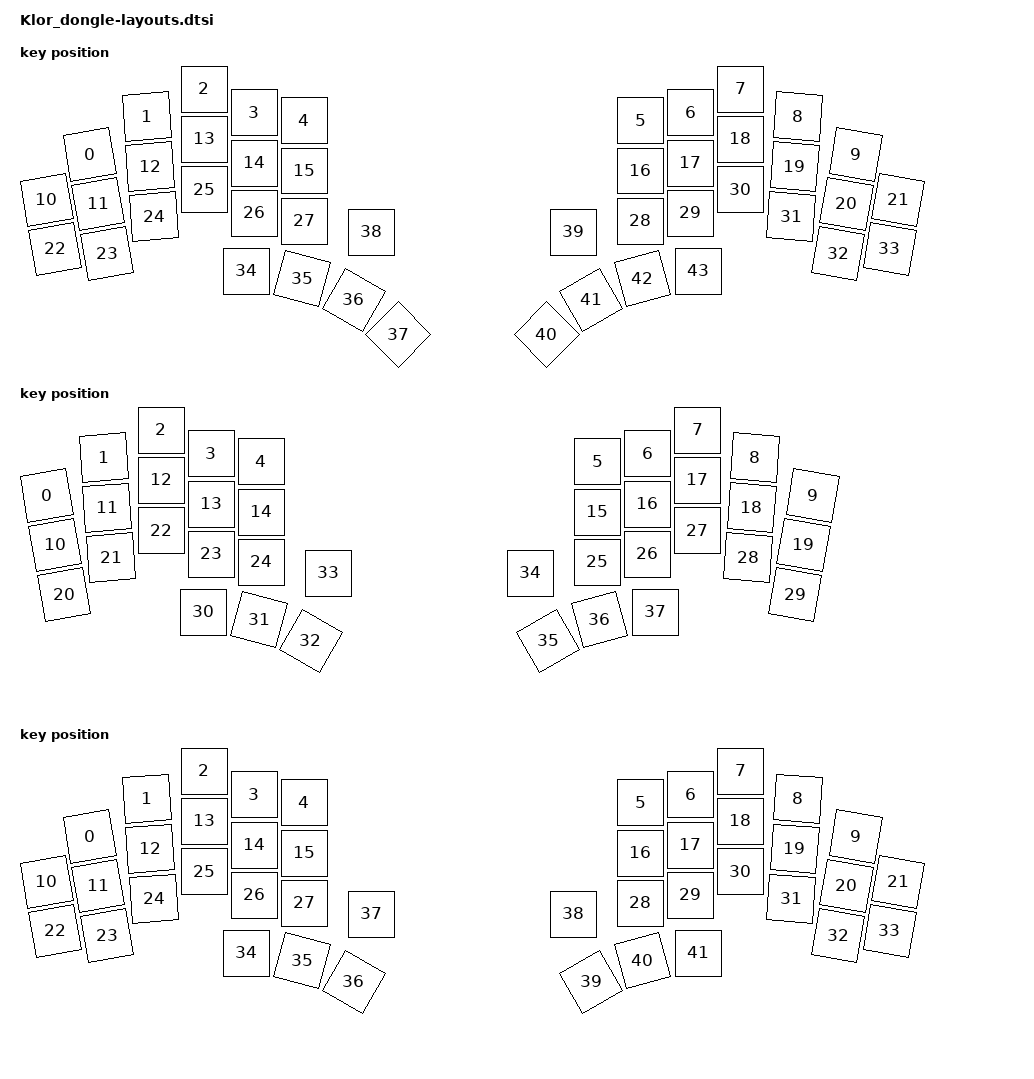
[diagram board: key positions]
#include <physical_layouts.dtsi>

/ {
    layout_0: layout_0 {
        compatible = "zmk,physical-layout";
        display-name = "LAYOU0";
        transform = <&default_transform>;

        keys  //                     w   h    x    y     rot    rx    ry
            = <&key_physical_attrs 100 100   94  131 (-1000)   144   181>
            , <&key_physical_attrs 100 100  209   55  (-400)   259   105>
            , <&key_physical_attrs 100 100  323    0       0     0     0>
            , <&key_physical_attrs 100 100  423   47       0     0     0>
            , <&key_physical_attrs 100 100  523   63       0     0     0>
            , <&key_physical_attrs 100 100 1196   63       0     0     0>
            , <&key_physical_attrs 100 100 1296   47       0     0     0>
            , <&key_physical_attrs 100 100 1396    0       0     0     0>
            , <&key_physical_attrs 100 100 1511   55     400  1561   105>
            , <&key_physical_attrs 100 100 1626  131    1000  1676   181>
            , <&key_physical_attrs 100 100    8  222 (-1000)    58   272>
            , <&key_physical_attrs 100 100  111  230 (-1000)   161   280>
            , <&key_physical_attrs 100 100  215  155  (-400)   266   205>
            , <&key_physical_attrs 100 100  323  100       0     0     0>
            , <&key_physical_attrs 100 100  423  148       0     0     0>
            , <&key_physical_attrs 100 100  523  164       0     0     0>
            , <&key_physical_attrs 100 100 1196  164       0     0     0>
            , <&key_physical_attrs 100 100 1296  148       0     0     0>
            , <&key_physical_attrs 100 100 1396  100       0     0     0>
            , <&key_physical_attrs 100 100 1504  155     400  1554   205>
            , <&key_physical_attrs 100 100 1608  230    1000  1658   280>
            , <&key_physical_attrs 100 100 1711  222    1000  1761   272>
            , <&key_physical_attrs 100 100   25  320 (-1000)    75   370>
            , <&key_physical_attrs 100 100  129  329 (-1000)   179   379>
            , <&key_physical_attrs 100 100  223  255  (-400)   273   305>
            , <&key_physical_attrs 100 100  323  201       0     0     0>
            , <&key_physical_attrs 100 100  423  248       0     0     0>
            , <&key_physical_attrs 100 100  523  264       0     0     0>
            , <&key_physical_attrs 100 100 1196  264       0     0     0>
            , <&key_physical_attrs 100 100 1296  248       0     0     0>
            , <&key_physical_attrs 100 100 1396  201       0     0     0>
            , <&key_physical_attrs 100 100 1497  255     400  1547   305>
            , <&key_physical_attrs 100 100 1591  329    1000  1641   379>
            , <&key_physical_attrs 100 100 1694  320    1000  1744   370>
            , <&key_physical_attrs 100 100  408  364       0     0     0>
            , <&key_physical_attrs 100 100  519  379    1500   569   429>
            , <&key_physical_attrs 100 100  622  422    3000   672   472>
            , <&key_physical_attrs 100 100  711  491 (-4500)   761   541>
            , <&key_physical_attrs 100 100  657  286       0     0     0>
            , <&key_physical_attrs 100 100 1062  286       0     0     0>
            , <&key_physical_attrs 100 100 1008  491    4500  1058   541>
            , <&key_physical_attrs 100 100 1097  422 (-3000)  1147   472>
            , <&key_physical_attrs 100 100 1200  379 (-1500)  1250   429>
            , <&key_physical_attrs 100 100 1311  364       0     0     0>
            ;
    };

    layout_1: layout_1 {
        compatible = "zmk,physical-layout";
        display-name = "LAYOU1";
        transform = <&default_transform>;
        
        keys  //                     w   h    x    y     rot    rx    ry
            = <&key_physical_attrs 100 100   94  131 (-1000)   144   181>
            , <&key_physical_attrs 100 100  209   55  (-400)   259   105>
            , <&key_physical_attrs 100 100  323    0       0     0     0>
            , <&key_physical_attrs 100 100  423   47       0     0     0>
            , <&key_physical_attrs 100 100  523   63       0     0     0>
            , <&key_physical_attrs 100 100 1196   63       0     0     0>
            , <&key_physical_attrs 100 100 1296   47       0     0     0>
            , <&key_physical_attrs 100 100 1396    0       0     0     0>
            , <&key_physical_attrs 100 100 1511   55     400  1561   105>
            , <&key_physical_attrs 100 100 1626  131    1000  1676   181>
//            , <&key_physical_attrs 100 100    8  222 (-1000)    58   272>
            , <&key_physical_attrs 100 100  111  230 (-1000)   161   280>
            , <&key_physical_attrs 100 100  215  155  (-400)   266   205>
            , <&key_physical_attrs 100 100  323  100       0     0     0>
            , <&key_physical_attrs 100 100  423  148       0     0     0>
            , <&key_physical_attrs 100 100  523  164       0     0     0>
            , <&key_physical_attrs 100 100 1196  164       0     0     0>
            , <&key_physical_attrs 100 100 1296  148       0     0     0>
            , <&key_physical_attrs 100 100 1396  100       0     0     0>
            , <&key_physical_attrs 100 100 1504  155     400  1554   205>
            , <&key_physical_attrs 100 100 1608  230    1000  1658   280>
//          , <&key_physical_attrs 100 100 1711  222    1000  1761   272>
//          , <&key_physical_attrs 100 100   25  320 (-1000)    75   370>
            , <&key_physical_attrs 100 100  129  329 (-1000)   179   379>
            , <&key_physical_attrs 100 100  223  255  (-400)   273   305>
            , <&key_physical_attrs 100 100  323  201       0     0     0>
            , <&key_physical_attrs 100 100  423  248       0     0     0>
            , <&key_physical_attrs 100 100  523  264       0     0     0>
            , <&key_physical_attrs 100 100 1196  264       0     0     0>
            , <&key_physical_attrs 100 100 1296  248       0     0     0>
            , <&key_physical_attrs 100 100 1396  201       0     0     0>
            , <&key_physical_attrs 100 100 1497  255     400  1547   305>
            , <&key_physical_attrs 100 100 1591  329    1000  1641   379>
//          , <&key_physical_attrs 100 100 1694  320    1000  1744   370>
            , <&key_physical_attrs 100 100  408  364       0     0     0>
            , <&key_physical_attrs 100 100  519  379    1500   569   429>
            , <&key_physical_attrs 100 100  622  422    3000   672   472>
//            , <&key_physical_attrs 100 100  711  491 (-4500)   761   541>
            , <&key_physical_attrs 100 100  657  286       0     0     0>
            , <&key_physical_attrs 100 100 1062  286       0     0     0>
//          , <&key_physical_attrs 100 100 1008  491    4500  1058   541>
            , <&key_physical_attrs 100 100 1097  422 (-3000)  1147   472>
            , <&key_physical_attrs 100 100 1200  379 (-1500)  1250   429>
            , <&key_physical_attrs 100 100 1311  364       0     0     0>
            ;
    };

    layout_2: layout_2 {
        compatible = "zmk,physical-layout";
        display-name = "LAYOU2";
        transform = <&default_transform>;
        
        keys  //                     w   h    x    y     rot    rx    ry
            = <&key_physical_attrs 100 100   94  131 (-1000)   144   181>
            , <&key_physical_attrs 100 100  209   55  (-400)   259   105>
            , <&key_physical_attrs 100 100  323    0       0     0     0>
            , <&key_physical_attrs 100 100  423   47       0     0     0>
            , <&key_physical_attrs 100 100  523   63       0     0     0>
            , <&key_physical_attrs 100 100 1196   63       0     0     0>
            , <&key_physical_attrs 100 100 1296   47       0     0     0>
            , <&key_physical_attrs 100 100 1396    0       0     0     0>
            , <&key_physical_attrs 100 100 1511   55     400  1561   105>
            , <&key_physical_attrs 100 100 1626  131    1000  1676   181>
            , <&key_physical_attrs 100 100    8  222 (-1000)    58   272>
            , <&key_physical_attrs 100 100  111  230 (-1000)   161   280>
            , <&key_physical_attrs 100 100  215  155  (-400)   266   205>
            , <&key_physical_attrs 100 100  323  100       0     0     0>
            , <&key_physical_attrs 100 100  423  148       0     0     0>
            , <&key_physical_attrs 100 100  523  164       0     0     0>
            , <&key_physical_attrs 100 100 1196  164       0     0     0>
            , <&key_physical_attrs 100 100 1296  148       0     0     0>
            , <&key_physical_attrs 100 100 1396  100       0     0     0>
            , <&key_physical_attrs 100 100 1504  155     400  1554   205>
            , <&key_physical_attrs 100 100 1608  230    1000  1658   280>
            , <&key_physical_attrs 100 100 1711  222    1000  1761   272>
            , <&key_physical_attrs 100 100   25  320 (-1000)    75   370>
            , <&key_physical_attrs 100 100  129  329 (-1000)   179   379>
            , <&key_physical_attrs 100 100  223  255  (-400)   273   305>
            , <&key_physical_attrs 100 100  323  201       0     0     0>
            , <&key_physical_attrs 100 100  423  248       0     0     0>
            , <&key_physical_attrs 100 100  523  264       0     0     0>
            , <&key_physical_attrs 100 100 1196  264       0     0     0>
            , <&key_physical_attrs 100 100 1296  248       0     0     0>
            , <&key_physical_attrs 100 100 1396  201       0     0     0>
            , <&key_physical_attrs 100 100 1497  255     400  1547   305>
            , <&key_physical_attrs 100 100 1591  329    1000  1641   379>
            , <&key_physical_attrs 100 100 1694  320    1000  1744   370>
            , <&key_physical_attrs 100 100  408  364       0     0     0>
            , <&key_physical_attrs 100 100  519  379    1500   569   429>
            , <&key_physical_attrs 100 100  622  422    3000   672   472>
//            , <&key_physical_attrs 100 100  711  491 (-4500)   761   541>
            , <&key_physical_attrs 100 100  657  286       0     0     0>
            , <&key_physical_attrs 100 100 1062  286       0     0     0>
//          , <&key_physical_attrs 100 100 1008  491    4500  1058   541>
            , <&key_physical_attrs 100 100 1097  422 (-3000)  1147   472>
            , <&key_physical_attrs 100 100 1200  379 (-1500)  1250   429>
            , <&key_physical_attrs 100 100 1311  364       0     0     0>
            ;
    };
    layout_3: layout_3 {
        compatible = "zmk,physical-layout";
        display-name = "LAYOU3";
        transform = <&default_transform>;
        
        keys  //                     w   h    x    y     rot    rx    ry
            = <&key_physical_attrs 100 100   94  131 (-1000)   144   181>
            , <&key_physical_attrs 100 100  209   55  (-400)   259   105>
            , <&key_physical_attrs 100 100  323    0       0     0     0>
            , <&key_physical_attrs 100 100  423   47       0     0     0>
            , <&key_physical_attrs 100 100  523   63       0     0     0>
            , <&key_physical_attrs 100 100 1196   63       0     0     0>
            , <&key_physical_attrs 100 100 1296   47       0     0     0>
            , <&key_physical_attrs 100 100 1396    0       0     0     0>
            , <&key_physical_attrs 100 100 1511   55     400  1561   105>
            , <&key_physical_attrs 100 100 1626  131    1000  1676   181>
//          , <&key_physical_attrs 100 100    8  222 (-1000)    58   272>
            , <&key_physical_attrs 100 100  111  230 (-1000)   161   280>
            , <&key_physical_attrs 100 100  215  155  (-400)   266   205>
            , <&key_physical_attrs 100 100  323  100       0     0     0>
            , <&key_physical_attrs 100 100  423  148       0     0     0>
            , <&key_physical_attrs 100 100  523  164       0     0     0>
            , <&key_physical_attrs 100 100 1196  164       0     0     0>
            , <&key_physical_attrs 100 100 1296  148       0     0     0>
            , <&key_physical_attrs 100 100 1396  100       0     0     0>
            , <&key_physical_attrs 100 100 1504  155     400  1554   205>
            , <&key_physical_attrs 100 100 1608  230    1000  1658   280>
//          , <&key_physical_attrs 100 100 1711  222    1000  1761   272>
//          , <&key_physical_attrs 100 100   25  320 (-1000)    75   370>
            , <&key_physical_attrs 100 100  129  329 (-1000)   179   379>
            , <&key_physical_attrs 100 100  223  255  (-400)   273   305>
            , <&key_physical_attrs 100 100  323  201       0     0     0>
            , <&key_physical_attrs 100 100  423  248       0     0     0>
            , <&key_physical_attrs 100 100  523  264       0     0     0>
            , <&key_physical_attrs 100 100 1196  264       0     0     0>
            , <&key_physical_attrs 100 100 1296  248       0     0     0>
            , <&key_physical_attrs 100 100 1396  201       0     0     0>
            , <&key_physical_attrs 100 100 1497  255     400  1547   305>
            , <&key_physical_attrs 100 100 1591  329    1000  1641   379>
//          , <&key_physical_attrs 100 100 1694  320    1000  1744   370>
            , <&key_physical_attrs 100 100  408  364       0     0     0>
            , <&key_physical_attrs 100 100  519  379    1500   569   429>
            , <&key_physical_attrs 100 100  622  422    3000   672   472>
            , <&key_physical_attrs 100 100  711  491 (-4500)   761   541>
            , <&key_physical_attrs 100 100  657  286       0     0     0>
            , <&key_physical_attrs 100 100 1062  286       0     0     0>
            , <&key_physical_attrs 100 100 1008  491    4500  1058   541>
            , <&key_physical_attrs 100 100 1097  422 (-3000)  1147   472>
            , <&key_physical_attrs 100 100 1200  379 (-1500)  1250   429>
            , <&key_physical_attrs 100 100 1311  364       0     0     0>
            ;
    };
position_map {
        compatible = "zmk,physical-layout-position-map";

        complete;

        layout_0 {
            physical-layout = <&layout_0>;
            positions
                = < 0  1  2  3  4  5  6  7  8  9 10 11 12 13 14 15>
                , <16 17 18 19 20 21 22 23 24 25 26 27 28 29 30 31>
                , <32 33 34 35 36 37 38 39 40 41 42 43>
                ;
        };

        layout_1 {
            physical-layout = <&layout_1>;
            positions
                = < 0  1  2  3  4  5  6  7  8  9 38 10 11 12 13 14>
                , <15 16 17 18 19 39 40 20 21 22 23 24 25 26 27 28>
                , <29 41 30 31 32 42 33 34 43 35 36 37>
                ;
        };

        layout_2 {
            physical-layout = <&layout_2>;
            positions
                = < 0  1  2  3  4  5  6  7  8  9 10 11 12 13 14 15>
                , <16 17 18 19 20 21 22 23 24 25 26 27 28 29 30 31>
                , <32 33 34 35 36 42 37 38 43 39 40 41>
                ;
        };

        layout_3 {
            physical-layout = <&layout_3>;
            positions
                = < 0  1  2  3  4  5  6  7  8  9 40 10 11 12 13 14>
                , <15 16 17 18 19 41 42 20 21 22 23 24 25 26 27 28>
                , <29 43 30 31 32 33 34 35 36 37 38 39>
                ;
        };
    };
};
